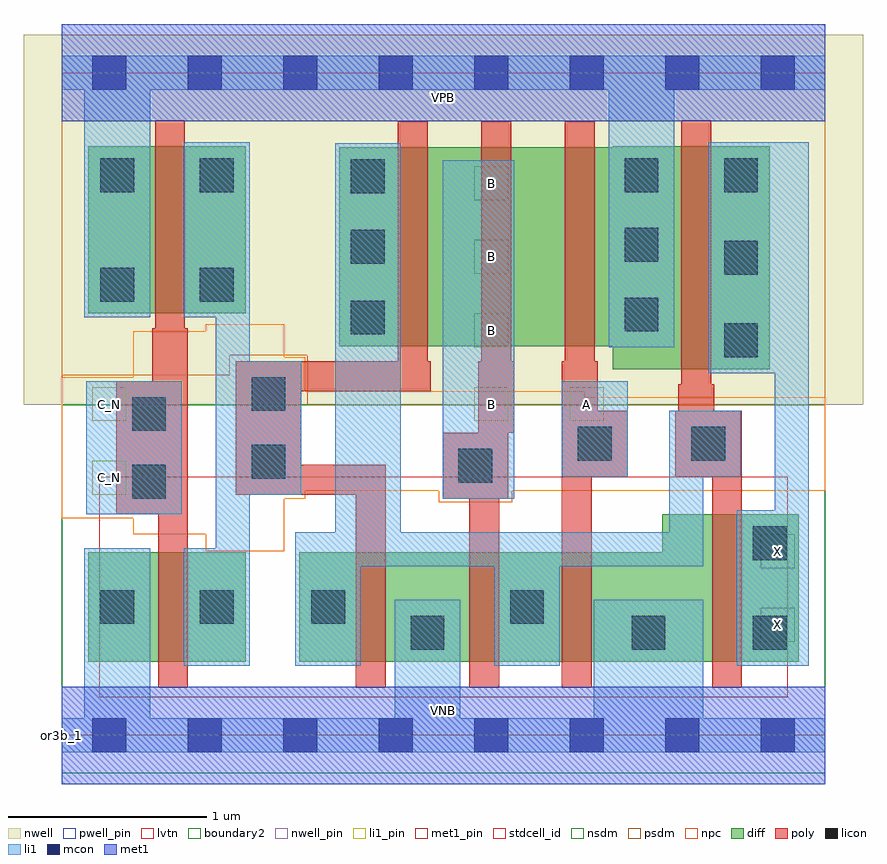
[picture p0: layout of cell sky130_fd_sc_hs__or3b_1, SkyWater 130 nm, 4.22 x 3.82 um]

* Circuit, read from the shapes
.subckt sky130_fd_sc_hs__or3b_1 A B C_N VGND VNB VPB VPWR X
XM1 n1 C_N VGND VNB sky130_fd_pr__nfet_01v8_lvt w=0.55 l=0.15
XM2 VGND n1 n2 VNB sky130_fd_pr__nfet_01v8_lvt w=0.55 l=0.15
XM3 n2 B VGND VNB sky130_fd_pr__nfet_01v8_lvt w=0.55 l=0.15
XM4 VGND A n2 VNB sky130_fd_pr__nfet_01v8_lvt w=0.55 l=0.15
XM5 X n2 VGND VNB sky130_fd_pr__nfet_01v8_lvt w=0.74 l=0.15
XM6 n1 C_N VPWR VPB sky130_fd_pr__pfet_01v8 w=0.84 l=0.15
XM7 n3 n1 n2 VPB sky130_fd_pr__pfet_01v8 w=1 l=0.15
XM8 n4 B n3 VPB sky130_fd_pr__pfet_01v8 w=1 l=0.15
XM9 VPWR A n4 VPB sky130_fd_pr__pfet_01v8 w=1 l=0.15
XM10 X n2 VPWR VPB sky130_fd_pr__pfet_01v8 w=1.12 l=0.15
.ends

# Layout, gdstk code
import gdstk
lib = gdstk.Library(unit=1e-6, precision=1e-09)
def R(c, l, rs):  # rectangles x0, y0, x1, y1
    for r in rs: c.add(gdstk.rectangle(r[:2], r[2:], *l))
def A(c, l, x, y, w, h, nx, ny, dx, dy):  # array of equal rectangles
    R(c, l, [(x+i*dx, y+j*dy, x+i*dx+w, y+j*dy+h) for i in range(nx) for j in range(ny)])
def P(c, l, *ps):  # polygons
    for p in ps: c.add(gdstk.Polygon(p, *l))
nwell_pin = (64, 16)
nwell = (64, 20)
diff = (65, 20)
poly = (66, 20)
licon = (66, 44)
li1_pin = (67, 16)
li1 = (67, 20)
mcon = (67, 44)
met1_pin = (68, 16)
met1 = (68, 20)
stdcell_id = (81, 4)
nsdm = (93, 44)
psdm = (94, 20)
npc = (95, 20)
pwell_pin = (122, 16)
lvtn = (125, 44)
boundary2 = (236, 0)

sky130_fd_sc_hs__or3b_1 = lib.new_cell('sky130_fd_sc_hs__or3b_1')
R(sky130_fd_sc_hs__or3b_1, nwell_pin, [(0,3.085,3.84,3.33)])
R(sky130_fd_sc_hs__or3b_1, nwell, [(-0.19,1.66,4.03,3.52)])
R(sky130_fd_sc_hs__or3b_1, diff, [(0.135,0.37,0.925,0.92), (0.135,2.12,0.925,2.96)])
P(sky130_fd_sc_hs__or3b_1, diff, [(3.56,2.96),(2.77,2.96),(2.77,2.955),(1.395,2.955),(1.395,1.955),(2.77,1.955),(2.77,1.84),(3.56,1.84)],
  [(3.705,1.11),(3.02,1.11),(3.02,0.92),(1.195,0.92),(1.195,0.37),(3.705,0.37)])
P(sky130_fd_sc_hs__or3b_1, poly, [(3.42,1.63),(3.28,1.63),(3.28,1.765),(3.265,1.765),(3.265,3.09),(3.115,3.09),(3.115,1.765),(3.1,1.765),(3.1,1.63),(3.085,1.63),(3.085,1.3),(3.27,1.3),(3.27,0.24),(3.42,0.24)],
  [(2.845,1.63),(2.695,1.63),(2.695,1.88),(2.68,1.88),(2.68,3.085),(2.53,3.085),(2.53,1.88),(2.515,1.88),(2.515,0.24),(2.665,0.24),(2.665,1.3),(2.845,1.3)],
  [(2.275,1.88),(2.26,1.88),(2.26,3.085),(2.11,3.085),(2.11,1.88),(2.095,1.88),(2.095,1.52),(1.915,1.52),(1.915,1.19),(2.05,1.19),(2.05,0.24),(2.2,0.24),(2.2,1.19),(2.245,1.19),(2.245,1.52),(2.275,1.52)],
  [(1.855,1.88),(1.84,1.88),(1.84,3.085),(1.69,3.085),(1.69,1.88),(0.875,1.88),(0.875,1.21),(1.48,1.21),(1.48,0.24),(1.63,0.24),(1.63,1.36),(1.205,1.36),(1.205,1.73),(1.855,1.73)],
  [(0.635,2.045),(0.62,2.045),(0.62,3.09),(0.47,3.09),(0.47,2.045),(0.455,2.045),(0.455,1.78),(0.275,1.78),(0.275,1.11),(0.485,1.11),(0.485,0.24),(0.635,0.24)])
A(sky130_fd_sc_hs__or3b_1, licon, 3.33, 1.9, 0.17, 0.17, 1, 3, 0, 0.415)
A(sky130_fd_sc_hs__or3b_1, licon, 1.455, 2.015, 0.17, 0.17, 1, 3, 0, 0.355)
A(sky130_fd_sc_hs__or3b_1, licon, 2.83, 2.03, 0.17, 0.17, 1, 3, 0, 0.35)
R(sky130_fd_sc_hs__or3b_1, licon, [(1.755,0.43,1.925,0.6), (2.865,0.43,3.035,0.6), (3.475,0.43,3.645,0.6), (0.195,0.56,0.365,0.73), (0.695,0.56,0.865,0.73), (1.255,0.56,1.425,0.73), (2.255,0.56,2.425,0.73), (3.475,0.88,3.645,1.05), (0.355,1.19,0.525,1.36), (1.995,1.27,2.165,1.44), (0.955,1.29,1.125,1.46), (2.595,1.38,2.765,1.55), (3.165,1.38,3.335,1.55), (0.355,1.53,0.525,1.7), (0.955,1.63,1.125,1.8), (0.195,2.18,0.365,2.35), (0.695,2.18,0.865,2.35), (0.195,2.73,0.365,2.9), (0.695,2.73,0.865,2.9)])
A(sky130_fd_sc_hs__or3b_1, li1_pin, 2.075, 1.58, 0.17, 0.17, 1, 4, 0, 0.37)
R(sky130_fd_sc_hs__or3b_1, li1_pin, [(3.515,0.47,3.685,0.64), (3.515,0.84,3.685,1.01), (0.155,1.21,0.325,1.38), (0.155,1.58,0.325,1.75), (2.555,1.58,2.725,1.75)])
R(sky130_fd_sc_hs__or3b_1, li1, [(0.125,1.11,0.605,1.78), (1.915,1.19,2.275,2.89), (2.515,1.3,2.845,1.78)])
P(sky130_fd_sc_hs__or3b_1, li1, [(0,-0.085),(0,0.085),(0.115,0.085),(0.115,0.94),(0.445,0.94),(0.445,0.085),(1.675,0.085),(1.675,0.68),(2.005,0.68),(2.005,0.085),(2.675,0.085),(2.675,0.68),(3.225,0.68),(3.225,0.085),(3.84,0.085),(3.84,-0.085)],
  [(0,3.245),(0,3.415),(3.84,3.415),(3.84,3.245),(3.08,3.245),(3.08,1.95),(2.75,1.95),(2.75,3.245),(0.445,3.245),(0.445,2.1),(0.115,2.1),(0.115,3.245)],
  [(3.585,1.13),(3.585,1.82),(3.25,1.82),(3.25,2.98),(3.755,2.98),(3.755,0.35),(3.395,0.35),(3.395,1.13)],
  [(1.375,1.02),(1.375,2.975),(1.705,2.975),(1.705,1.02),(3.055,1.02),(3.055,1.63),(3.415,1.63),(3.415,1.3),(3.225,1.3),(3.225,0.85),(2.505,0.85),(2.505,0.35),(2.175,0.35),(2.175,0.85),(1.505,0.85),(1.505,0.35),(1.175,0.35),(1.175,1.02)],
  [(0.945,1.88),(1.205,1.88),(1.205,1.21),(0.945,1.21),(0.945,0.35),(0.615,0.35),(0.615,0.94),(0.775,0.94),(0.775,2.1),(0.615,2.1),(0.615,2.98),(0.945,2.98)])
A(sky130_fd_sc_hs__or3b_1, mcon, 0.155, -0.085, 0.17, 0.17, 8, 2, 0.48, 3.33)
R(sky130_fd_sc_hs__or3b_1, met1_pin, [(0,0,3.84,0.245), (0,3.085,3.84,3.33)])
R(sky130_fd_sc_hs__or3b_1, met1, [(0,-0.245,3.84,0.245), (0,3.085,3.84,3.575)])
R(sky130_fd_sc_hs__or3b_1, stdcell_id, [(0,0,3.84,3.33)])
R(sky130_fd_sc_hs__or3b_1, nsdm, [(0,-0.19,3.84,1.66)])
P(sky130_fd_sc_hs__or3b_1, psdm, [(3.84,3.52),(0,3.52),(0,1.81),(0.845,1.81),(0.845,1.91),(1.235,1.91),(1.235,1.66),(3.84,1.66)])
P(sky130_fd_sc_hs__or3b_1, npc, [(3.84,1.7),(2.63,1.7),(2.63,1.73),(1.225,1.73),(1.225,1.9),(1.12,1.9),(1.12,2.065),(0.725,2.065),(0.725,2.03),(0.36,2.03),(0.36,1.8),(0,1.8),(0,1.09),(0.36,1.09),(0.36,1.01),(0.725,1.01),(0.725,0.925),(1.12,0.925),(1.12,1.19),(1.225,1.19),(1.225,1.23),(1.895,1.23),(1.895,1.17),(2.265,1.17),(2.265,1.23),(3.84,1.23)])
R(sky130_fd_sc_hs__or3b_1, pwell_pin, [(0,0,3.84,0.245)])
R(sky130_fd_sc_hs__or3b_1, lvtn, [(0.19,0.19,3.65,1.3)])
R(sky130_fd_sc_hs__or3b_1, boundary2, [(0,0,3.84,3.33)])
sky130_fd_sc_hs__or3b_1.add(gdstk.Label('or3b_1', (0,0), layer=83, texttype=44))
sky130_fd_sc_hs__or3b_1.add(gdstk.Label('VNB', (1.92,0.123), layer=64, texttype=59))
sky130_fd_sc_hs__or3b_1.add(gdstk.Label('VPB', (1.92,3.208), layer=64, texttype=5))
sky130_fd_sc_hs__or3b_1.add(gdstk.Label('VPWR', (1.92,3.208), layer=68, texttype=5))
sky130_fd_sc_hs__or3b_1.add(gdstk.Label('VGND', (1.92,0.123), layer=68, texttype=5))
sky130_fd_sc_hs__or3b_1.add(gdstk.Label('A', (2.64,1.665), layer=67, texttype=5))
sky130_fd_sc_hs__or3b_1.add(gdstk.Label('B', (2.16,1.665), layer=67, texttype=5))
sky130_fd_sc_hs__or3b_1.add(gdstk.Label('B', (2.16,2.035), layer=67, texttype=5))
sky130_fd_sc_hs__or3b_1.add(gdstk.Label('B', (2.16,2.405), layer=67, texttype=5))
sky130_fd_sc_hs__or3b_1.add(gdstk.Label('B', (2.16,2.775), layer=67, texttype=5))
sky130_fd_sc_hs__or3b_1.add(gdstk.Label('C_N', (0.24,1.295), layer=67, texttype=5))
sky130_fd_sc_hs__or3b_1.add(gdstk.Label('C_N', (0.24,1.665), layer=67, texttype=5))
sky130_fd_sc_hs__or3b_1.add(gdstk.Label('X', (3.6,0.555), layer=67, texttype=5))
sky130_fd_sc_hs__or3b_1.add(gdstk.Label('X', (3.6,0.925), layer=67, texttype=5))

lib.write_gds('sky130_fd_sc_hs__or3b_1.gds')
